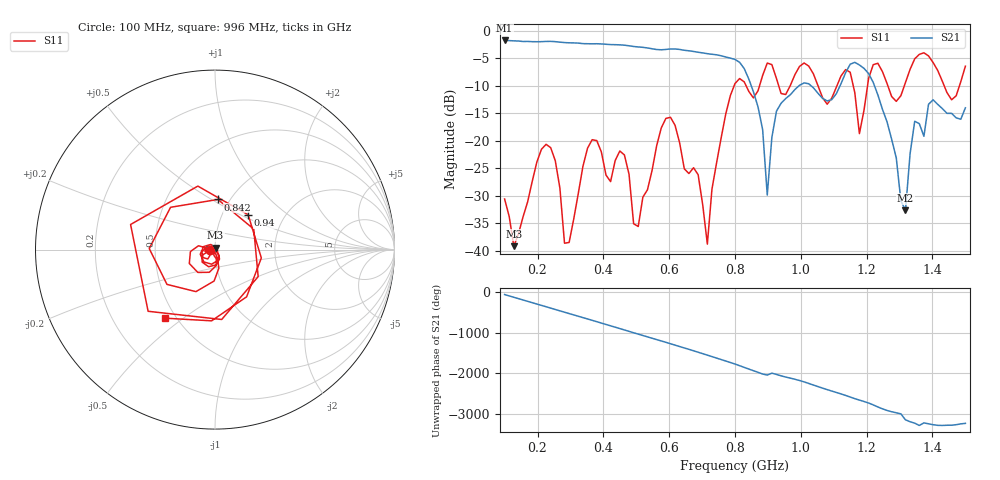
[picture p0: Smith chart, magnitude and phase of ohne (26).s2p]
! NanoVNA-App
! Date: 2025-09-26 09:55:36
! Start: 100MHz Stop: 1,5GHz Points: 101
! S-Parameter data: F S11 S21 S12 S22
# Hz S RI R 50
!  Frequency  S11_Real  S11_Imag  S21_Real  S21_Imag  S12_Real  S12_Imag  S22_Real  S22_Imag
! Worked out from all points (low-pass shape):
!   101 points, 100 MHz to 1.5 GHz, reference 50 ohm
!   highest |S21| = -1.79 dB at 100 MHz (marker M1); lowest = -32.7 dB at 1.318 GHz (marker M2)
!   |S21| within 3 dB of the highest: start of sweep to 771.3 MHz
!   lowest |S11| = -39.2 dB at 128 MHz (marker M3), VSWR 1.02, Z = 50.3 + j1.07 ohm
!   |S11| at or under -10 dB: start of sweep to 797.6 MHz; 833.4 MHz to 874.7 MHz (41.27 MHz wide, 4.83 % of centre); 1.052 GHz to 1.11 GHz (57.94 MHz wide, 5.36 % of centre)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
!   S12 and S22 are empty: the file has one direction only
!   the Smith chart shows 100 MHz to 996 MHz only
!   S11 on the Smith chart (normalised r, x): 100 MHz: 0.94, -0.01; 842 MHz: 0.88, +0.53; 940 MHz: 1.32, +0.55; 996 MHz: 0.44, -0.43
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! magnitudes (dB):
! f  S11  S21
! 100 MHz  -30.6  -1.8
! 128 MHz  -39.2  -1.9
! 212 MHz  -21.6  -2.0
! 282 MHz  -38.7  -2.2
! 338 MHz  -24.7  -2.4
! 464 MHz  -22.6  -2.7
! 506 MHz  -35.6  -3.0
! 576 MHz  -17.7  -3.5
! 716 MHz  -38.8  -4.2
! 800 MHz  -9.6  -5.2
! 842 MHz  -11.1  -8.8
! 898 MHz  -5.9  -29.9
! 940 MHz  -11.4  -13.2
! 996 MHz  -6.5  -9.9
! 1.038 GHz  -7.8  -10.4
! 1.15 GHz  -7.6  -6.1
! 1.178 GHz  -18.7  -6.3
! 1.22 GHz  -6.2  -9.4
! 1.276 GHz  -12.0  -19.8
! 1.318 GHz  -9.4  -32.7
! 1.346 GHz  -5.1  -16.5
! 1.5 GHz  -6.5  -14.0
